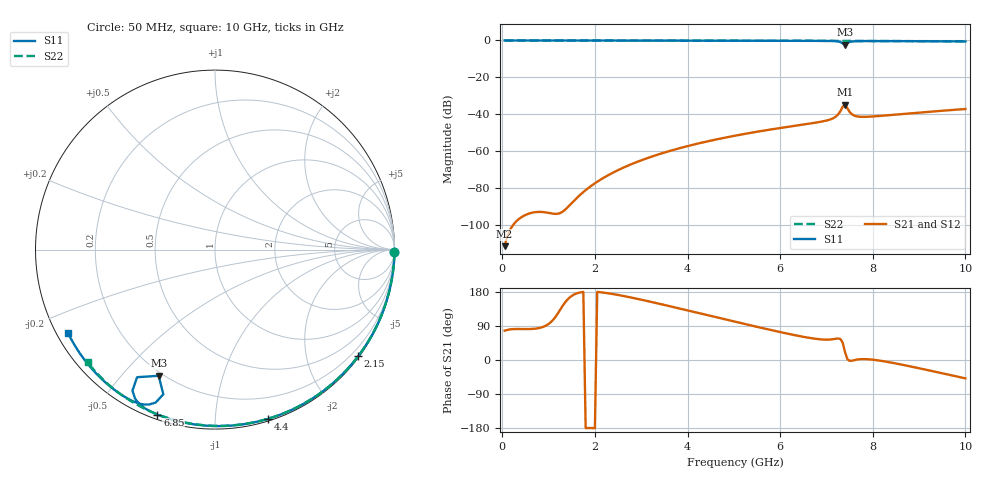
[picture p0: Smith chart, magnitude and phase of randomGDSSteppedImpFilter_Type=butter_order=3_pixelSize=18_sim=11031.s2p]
! freq	dB(S11)	phase(S11)	dB(S12)	phase(S12)
!  dB(S21)	phase(S21)	dB(S22)	phase(S22)
!S-par simulation data
#  GHz  S  DB  R 50
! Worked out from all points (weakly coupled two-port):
!   200 points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, 50 MHz to 10 GHz, reference 50 ohm
!   highest |S21| = -34.76 dB at 7.4 GHz (marker M1); lowest = -111.3 dB at 50 MHz (marker M2)
!   lowest |S11| = -2.3 dB at 7.4 GHz (marker M3), VSWR 7.69, Z = 9.17 - j31.7 ohm
!   |S11| at or under -10 dB: nowhere
!   |S22| runs from -0.5 to 0.0 dB; largest |S21 - S12| = 0
!   S11 on the Smith chart (normalised r, x): 50 MHz: open; 2.15 GHz: 0.03, -3.02; 4.4 GHz: 0.02, -1.36; 6.85 GHz: 0.02, -0.71; 10 GHz: 0.03, -0.26
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0.05  -0.00 -0.9  -111.30 77.5  -111.30 77.5  -0.00 -0.8
0.9  -0.02 -15.6  -92.89 88.3  -92.89 88.3  -0.02 -14.3
1.75  -0.04 -30.0  -82.02 179.7  -82.02 179.7  -0.04 -27.6
1.85  -0.04 -31.7  -79.99 -179.4  -79.99 -179.4  -0.04 -29.2
2.15  -0.05 -36.7  -74.87 178.4  -74.87 178.4  -0.04 -33.8
2.7  -0.06 -45.7  -67.87 166.9  -67.87 166.9  -0.05 -42.2
3.4  -0.08 -57.0  -61.42 148.1  -61.42 148.1  -0.07 -52.6
4.4  -0.10 -72.6  -54.77 119.3  -54.77 119.3  -0.10 -67.0
5.05  -0.13 -82.4  -51.41 100.4  -51.41 100.4  -0.12 -76.0
6.7  -0.21 -106.8  -44.74 57.1  -44.74 57.1  -0.19 -97.9
6.85  -0.23 -109.2  -44.11 54.7  -44.11 54.7  -0.20 -99.8
7.05  -0.27 -112.8  -42.99 53.8  -42.99 53.8  -0.21 -102.4
7.2  -0.39 -116.5  -41.25 56.0  -41.25 56.0  -0.22 -104.3
7.3  -0.82 -120.3  -38.31 55.5  -38.31 55.5  -0.23 -105.5
7.35  -1.59 -121.4  -35.89 45.9  -35.89 45.9  -0.23 -106.1
7.4  -2.27 -114.1  -34.76 21.5  -34.76 21.5  -0.23 -106.7
7.45  -1.35 -109.7  -36.64 2.5  -36.64 2.5  -0.23 -107.4
7.5  -0.78 -111.2  -38.69 -2.4  -38.69 -2.4  -0.24 -108.0
7.55  -0.56 -113.0  -39.95 -1.9  -39.95 -1.9  -0.24 -108.6
7.65  -0.40 -115.8  -41.04 0.9  -41.04 0.9  -0.25 -109.9
8.35  -0.35 -127.4  -40.42 -5.8  -40.42 -5.8  -0.30 -118.5
10  -0.52 -150.4  -37.09 -48.5  -37.09 -48.5  -0.47 -138.5
